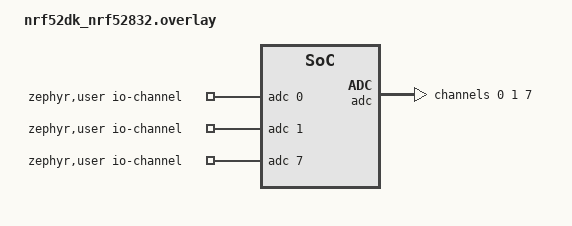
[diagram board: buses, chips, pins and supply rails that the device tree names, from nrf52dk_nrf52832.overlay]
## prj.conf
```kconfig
#
# Copyright (c) 2018 Nordic Semiconductor
#
# SPDX-License-Identifier: LicenseRef-Nordic-5-Clause
#

# Logger module
CONFIG_LOG=y

# Button and LED library
CONFIG_DK_LIBRARY=y

# Bluetooth LE
CONFIG_BT=y
# STEP 1 - Include the Peripheral Role support
CONFIG_BT_PERIPHERAL=y
# STEP 2 - Change the Bluetooth LE device name to Nordic_Peripheral
CONFIG_BT_DEVICE_NAME="nrF 0B Commu test"


CONFIG_BT_BROADCASTER=y
CONFIG_BT_OBSERVER=y
CONFIG_LOG=y

CONFIG_ADC=y


# Increase stack size for the main thread and System Workqueue
CONFIG_SYSTEM_WORKQUEUE_STACK_SIZE=2048
CONFIG_MAIN_STACK_SIZE=2048
```

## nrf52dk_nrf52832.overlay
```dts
/*
 * SPDX-License-Identifier: Apache-2.0
 *
 * Copyright (c) 2022 Nordic Semiconductor ASA
 */


 / {
	zephyr,user {
		io-channels = <&adc 0>, <&adc 1>, <&adc 7>;
	};
};

&adc {
	#address-cells = <1>;
	#size-cells = <0>;

	channel@0 {
		reg = <0>;
		zephyr,gain = "ADC_GAIN_1_6";
		zephyr,reference = "ADC_REF_INTERNAL";
		zephyr,acquisition-time = <ADC_ACQ_TIME_DEFAULT>;
		zephyr,input-positive = <NRF_SAADC_AIN1>; /* P0.03 */
		zephyr,resolution = <12>;
	};

	channel@1 {
		reg = <1>;
		zephyr,gain = "ADC_GAIN_1_6";
		zephyr,reference = "ADC_REF_INTERNAL";
		zephyr,acquisition-time = <ADC_ACQ_TIME_DEFAULT>;
		zephyr,input-positive = <NRF_SAADC_VDD>;
		zephyr,resolution = <14>;
		zephyr,oversampling = <8>;
	};

	channel@7 {
		reg = <7>;
		zephyr,gain = "ADC_GAIN_1_5";
		zephyr,reference = "ADC_REF_VDD_1_4";
		zephyr,vref-mv = <750>;
		zephyr,acquisition-time = <ADC_ACQ_TIME_DEFAULT>;
		zephyr,input-positive = <NRF_SAADC_AIN6>; /* P0.30 */
		zephyr,input-negative = <NRF_SAADC_AIN7>; /* P0.31 */
		zephyr,resolution = <12>;
	};
};
```

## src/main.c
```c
#include <zephyr/types.h>
#include <stddef.h>
#include <zephyr/sys/printk.h>
#include <zephyr/sys/util.h>
#include <zephyr/bluetooth/bluetooth.h>
#include <zephyr/bluetooth/hci.h>
#include <zephyr/bluetooth/addr.h>  // Required for address utilities

#include <zephyr/kernel.h>
#include <zephyr/logging/log.h>

#include <zephyr/bluetooth/gap.h>
/* STEP 3.2.1 - Include the header file of the UUID helper macros and definitions */
#include <zephyr/bluetooth/uuid.h>

#include <dk_buttons_and_leds.h>


#include <inttypes.h>
#include <stddef.h>
#include <stdint.h>

#include <zephyr/device.h>
#include <zephyr/devicetree.h>
#include <zephyr/drivers/adc.h>

#if !DT_NODE_EXISTS(DT_PATH(zephyr_user)) || \
	!DT_NODE_HAS_PROP(DT_PATH(zephyr_user), io_channels)
#error "No suitable devicetree overlay specified"
#endif

#define DT_SPEC_AND_COMMA(node_id, prop, idx) \
	ADC_DT_SPEC_GET_BY_IDX(node_id, idx),

/* Data of ADC io-channels specified in devicetree. */
static const struct adc_dt_spec adc_channels[] = {
	DT_FOREACH_PROP_ELEM(DT_PATH(zephyr_user), io_channels,
			     DT_SPEC_AND_COMMA)
};


static const struct bt_le_adv_param *adv_param = BT_LE_ADV_PARAM(
	(BT_LE_ADV_OPT_CONNECTABLE |
	 BT_LE_ADV_OPT_USE_IDENTITY), /* Connectable advertising and use identity address */
	800, /* Min Advertising Interval 500ms (800*0.625ms) */
	801, /* Max Advertising Interval 500.625ms (801*0.625ms) */
	NULL); /* Set to NULL for undirected advertising */


#define DEVICE_NAME CONFIG_BT_DEVICE_NAME
#define DEVICE_NAME_LEN (sizeof(DEVICE_NAME) - 1)

#define RUN_STATUS_LED DK_LED1
#define RUN_LED_BLINK_INTERVAL 1000

static uint8_t mfg_data[] = { 0xff, 0xff, 0x00 };

static const struct bt_data ad[] = {
	/* STEP 3.1 - Set the flags and populate the device name in the advertising packet */
	BT_DATA_BYTES(BT_DATA_FLAGS, (BT_LE_AD_GENERAL | BT_LE_AD_NO_BREDR)),
	BT_DATA(BT_DATA_NAME_COMPLETE, DEVICE_NAME, DEVICE_NAME_LEN),
	BT_DATA(BT_DATA_MANUFACTURER_DATA, mfg_data, 3),  // Existing manufacturer data

};



static void scan_cb(const bt_addr_le_t *addr, int8_t rssi, uint8_t adv_type,
		    struct net_buf_simple *buf)
{
	char addr_str[BT_ADDR_LE_STR_LEN];  // Buffer for address string

	// Convert BLE address to string and print
	bt_addr_le_to_str(addr, addr_str, sizeof(addr_str));
	printk("Scanned Device: Address=%s, RSSI=%d, Type=%u\n",
	       addr_str, rssi, adv_type);

	mfg_data[2]++;
}

int main(void)
{
	struct bt_le_scan_param scan_param = {
		.type       = BT_HCI_LE_SCAN_PASSIVE,
		.options    = BT_LE_SCAN_OPT_NONE,
		.interval   = 0x0010,
		.window     = 0x0010,
	};
	int err;

	printk("Starting Scanner/Advertiser Demo\n");


	bt_addr_le_t addr;
	err = bt_addr_le_from_str("FF:EE:DD:CC:BB:AA", "random", &addr);
	err = bt_id_create(&addr, NULL);
	err = bt_enable(NULL);



	// adc configs

	uint32_t count = 0;
	uint16_t buf;

	struct adc_sequence sequence = {
		.buffer = &buf,
		/* buffer size in bytes, not number of samples */
		.buffer_size = sizeof(buf),
	};

	/* Configure channels individually prior to sampling. */
	for (size_t i = 0U; i < ARRAY_SIZE(adc_channels); i++) {
		if (!adc_is_ready_dt(&adc_channels[i])) {
			printk("ADC controller device %s not ready\n", adc_channels[i].dev->name);
			return 0;
		}

		err = adc_channel_setup_dt(&adc_channels[i]);
		if (err < 0) {

			printk("Setting up ADC device: %s, channel: %d\n",
				adc_channels[i].dev->name, adc_channels[i].channel_id);

			printk("ADC config - gain: %d, reference: %d, acquisition time: %d\n",
					adc_channels[i].channel_cfg.gain,
					adc_channels[i].channel_cfg.reference,
					adc_channels[i].channel_cfg.acquisition_time);
			 

			printk("Could not setup channel #%d (%d)\n", i, err);

			return 0;
		}
	}

	// main do-while

	do {

		// ble adv


		k_sleep(K_MSEC(400));

		err = bt_le_adv_start(adv_param, ad, ARRAY_SIZE(ad),
				      NULL, 0);

		k_sleep(K_MSEC(40));

		err = bt_le_adv_stop();

		k_sleep(K_MSEC(400));

		// ble scan

		k_sleep(K_MSEC(400));

		err = bt_le_scan_start(&scan_param, scan_cb);


		k_sleep(K_MSEC(40));

		err = bt_le_scan_stop();

		k_sleep(K_MSEC(400));

		// adc

		printk("ADC reading[%u]:\n", count++);
		for (size_t i = 0U; i < ARRAY_SIZE(adc_channels); i++) {
			int32_t val_mv;

			printk("- %s, channel %d: ",
			       adc_channels[i].dev->name,
			       adc_channels[i].channel_id);

			(void)adc_sequence_init_dt(&adc_channels[i], &sequence);

			err = adc_read_dt(&adc_channels[i], &sequence);
			if (err < 0) {
				printk("Could not read (%d)\n", err);
				continue;
			}

			/*
			 * If using differential mode, the 16 bit value
			 * in the ADC sample buffer should be a signed 2's
			 * complement value.
			 */
			if (adc_channels[i].channel_cfg.differential) {
				val_mv = (int32_t)((int16_t)buf);
			} else {
				val_mv = (int32_t)buf;
			}
			printk("%"PRId32, val_mv);
			err = adc_raw_to_millivolts_dt(&adc_channels[i],
						       &val_mv);
			/* conversion to mV may not be supported, skip if not */
			if (err < 0) {
				printk(" (value in mV not available)\n");
			} else {
				printk(" = %"PRId32" mV\n", val_mv);
			}
		}

		k_sleep(K_MSEC(1000));


		//edit from dom at Feb18 before TA

	} while (1);
	return 0;
}
```
